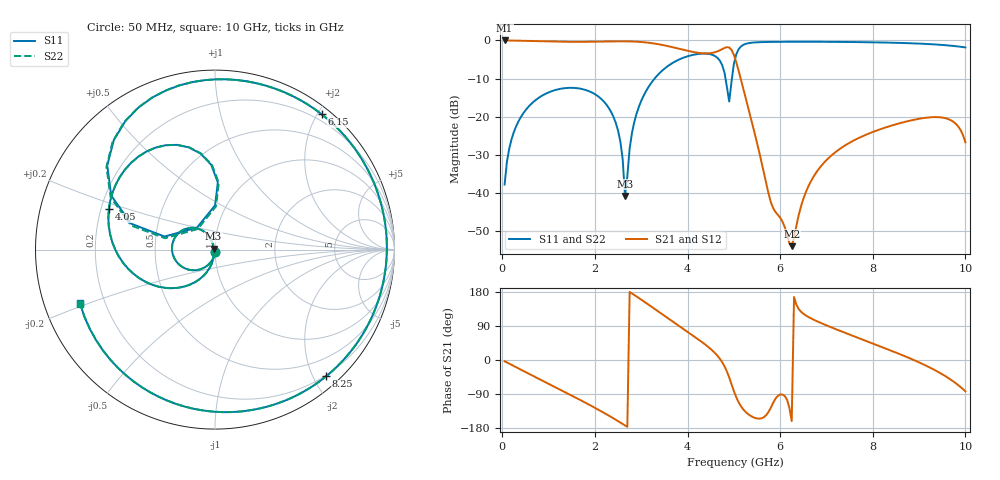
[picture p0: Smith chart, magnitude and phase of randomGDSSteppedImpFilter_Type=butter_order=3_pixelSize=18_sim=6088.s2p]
! freq	dB(S11)	phase(S11)	dB(S12)	phase(S12)
!  dB(S21)	phase(S21)	dB(S22)	phase(S22)
!S-par simulation data
#  GHz  S  DB  R 50
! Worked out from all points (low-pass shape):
!   200 points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, 50 MHz to 10 GHz, reference 50 ohm
!   highest |S21| = -0.01 dB at 50 MHz (marker M1); lowest = -53.8 dB at 6.25 GHz (marker M2)
!   |S21| within 3 dB of the highest: start of sweep to 4.113 GHz; 4.612 GHz to 4.971 GHz (358.5 MHz wide, 7.48 % of centre)
!   lowest |S11| = -40.7 dB at 2.65 GHz (marker M3), VSWR 1.02, Z = 49.2 + j0.507 ohm
!   |S11| at or under -10 dB: start of sweep to 3.288 GHz; 4.82 GHz to 4.958 GHz (138 MHz wide, 2.82 % of centre)
!   |S22| runs from -41.3 to -0.3 dB; largest |S21 - S12| = 0
!   S11 on the Smith chart (normalised r, x): 50 MHz: 1.00, -0.03; 4.05 GHz: 0.23, +0.17; 6.15 GHz: 0.11, +2.06; 8.25 GHz: 0.18, -2.20; 10 GHz: 0.11, -0.19
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0.05  -37.74 -92.6  -0.01 -3.2  -0.01 -3.2  -37.73 -92.5
0.2  -25.85 -102.7  -0.03 -12.8  -0.03 -12.8  -25.85 -102.7
0.55  -17.57 -125.3  -0.12 -34.9  -0.12 -34.9  -17.57 -125.3
1.75  -12.80 160.0  -0.37 -109.8  -0.37 -109.8  -12.80 159.9
2.4  -19.98 118.0  -0.25 -153.9  -0.25 -153.9  -19.99 117.6
2.55  -26.52 111.0  -0.23 -165.0  -0.23 -165.0  -26.54 110.0
2.65  -40.68 146.1  -0.24 -172.6  -0.24 -172.6  -41.26 142.6
2.9  -19.14 -107.0  -0.33 167.5  -0.33 167.5  -19.14 -106.5
3.4  -8.51 -146.6  -1.05 125.4  -1.05 125.4  -8.51 -146.4
4.05  -3.98 159.2  -2.85 70.0  -2.85 70.0  -3.98 159.3
4.55  -3.83 115.3  -3.22 23.5  -3.22 23.5  -3.84 115.2
4.8  -8.53 87.6  -1.96 -17.0  -1.96 -17.0  -8.58 86.8
4.9  -16.01 129.4  -1.85 -46.2  -1.85 -46.2  -16.50 129.6
5.05  -3.72 152.5  -5.60 -97.7  -5.60 -97.7  -3.74 153.4
5.4  -0.57 102.1  -21.87 -149.9  -21.87 -149.9  -0.58 102.5
6.15  -0.35 51.8  -50.90 -105.1  -50.90 -105.1  -0.35 52.0
6.25  -0.35 46.3  -53.85 -161.0  -53.85 -161.0  -0.35 46.5
6.7  -0.35 23.0  -36.09 107.7  -36.09 107.7  -0.35 23.2
8.25  -0.55 -48.7  -22.88 31.8  -22.88 31.8  -0.55 -48.5
8.35  -0.57 -53.3  -22.49 27.0  -22.49 27.0  -0.57 -53.0
9.3  -1.01 -101.6  -20.07 -24.1  -20.07 -24.1  -1.01 -101.3
10  -1.83 -158.5  -26.65 -82.7  -26.65 -82.7  -1.83 -158.2
